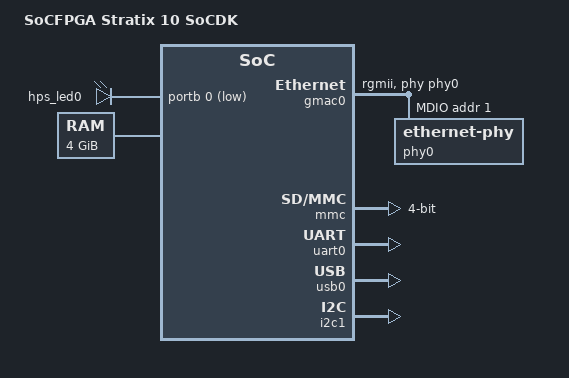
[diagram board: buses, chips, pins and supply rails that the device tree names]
// SPDX-License-Identifier: GPL-2.0
/*
 * Copyright (C) 2018 Intel Corporation
 */

#include "socfpga_stratix10.dtsi"

/ {
	model = "SoCFPGA Stratix 10 SoCDK";

	aliases {
		ethernet0 = &gmac0;
		serial0 = &uart0;
	};

	chosen {
		stdout-path = "serial0:115200n8";
		u-boot,boot0 = <&mmc>;
	};

	leds {
		compatible = "gpio-leds";
		hps0 {
			label = "hps_led0";
			gpios = <&portb 0 GPIO_ACTIVE_LOW>;
		};
	};

	memory {
		device_type = "memory";
		/* 4GB */
		reg = <0 0x00000000 0 0x80000000>,
		      <2 0x80000000 0 0x80000000>;
		u-boot,dm-pre-reloc;
	};
};

&gpio0 {
	status = "okay";
};

&gpio1 {
	status = "okay";
};

&gmac0 {
	status = "okay";
	phy-mode = "rgmii";
	phy-handle = <&phy0>;

	max-frame-size = <9000>;

	mdio0 {
		#address-cells = <1>;
		#size-cells = <0>;
		compatible = "snps,dwmac-mdio";
		phy0: ethernet-phy@0 {
			reg = <1>;

			txd0-skew-ps = <0>; /* -420ps */
			txd1-skew-ps = <0>; /* -420ps */
			txd2-skew-ps = <0>; /* -420ps */
			txd3-skew-ps = <0>; /* -420ps */
			rxd0-skew-ps = <420>; /* 0ps */
			rxd1-skew-ps = <420>; /* 0ps */
			rxd2-skew-ps = <420>; /* 0ps */
			rxd3-skew-ps = <420>; /* 0ps */
			txen-skew-ps = <0>; /* -420ps */
			txc-skew-ps = <900>; /* 0ps */
			rxdv-skew-ps = <420>; /* 0ps */
			rxc-skew-ps = <1680>; /* 780ps */
		};
	};
};

&mmc {
	status = "okay";
	cap-sd-highspeed;
	cap-mmc-highspeed;
	broken-cd;
	bus-width = <4>;
	drvsel = <3>;
	smplsel = <0>;
};

&uart0 {
	status = "okay";
};

&usb0 {
	status = "okay";
};

&i2c1 {
	status = "okay";
};
